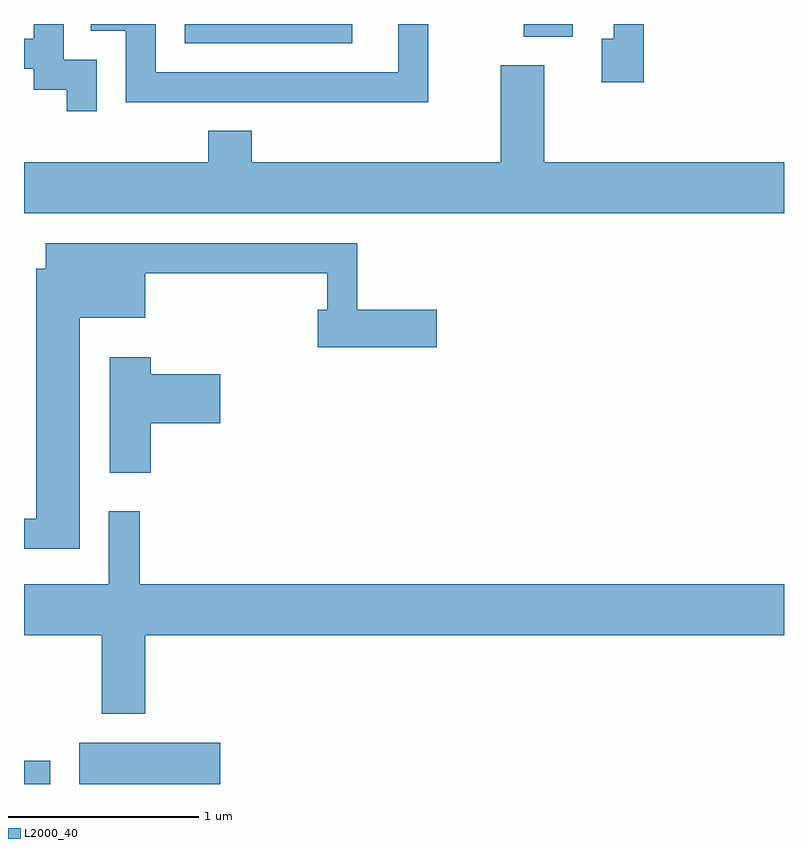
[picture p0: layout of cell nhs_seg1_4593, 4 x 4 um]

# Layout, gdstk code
import gdstk
lib = gdstk.Library(unit=1e-6, precision=1e-09)
def R(c, l, rs):  # rectangles x0, y0, x1, y1
    for r in rs: c.add(gdstk.rectangle(r[:2], r[2:], *l))
def P(c, l, *ps):  # polygons
    for p in ps: c.add(gdstk.Polygon(p, *l))
L2000_40 = (2000, 40)

nhs_seg1_4593 = lib.new_cell('nhs_seg1_4593')
R(nhs_seg1_4593, L2000_40, [(323.611,867.712,323.749,867.834), (323.901,867.712,324.644,867.929), (324.456,871.611,325.338,871.712), (326.241,871.646,326.499,871.712)])
P(nhs_seg1_4593, L2000_40, [(326.874,871.712),(326.716,871.712),(326.716,871.634),(326.651,871.634),(326.651,871.406),(326.874,871.406)],
  [(325.739,871.712),(325.581,871.712),(325.581,871.459),(324.304,871.459),(324.304,871.712),(323.963,871.712),(323.963,871.676),(324.146,871.676),(324.146,871.301),(325.739,871.301)],
  [(323.994,871.524),(323.819,871.524),(323.819,871.712),(323.661,871.712),(323.661,871.634),(323.611,871.634),(323.611,871.476),(323.661,871.476),(323.661,871.366),(323.836,871.366),(323.836,871.253),(323.994,871.253)],
  [(327.611,870.984),(326.349,870.984),(326.349,871.494),(326.121,871.494),(326.121,870.984),(324.809,870.984),(324.809,871.149),(324.581,871.149),(324.581,870.984),(323.611,870.984),(323.611,870.716),(327.611,870.716)],
  [(323.904,870.166),(324.249,870.166),(324.249,870.401),(325.206,870.401),(325.206,870.209),(325.156,870.209),(325.156,870.011),(325.784,870.011),(325.784,870.209),(325.364,870.209),(325.364,870.559),(323.726,870.559),(323.726,870.424),(323.676,870.424),(323.676,869.109),(323.611,869.109),(323.611,868.951),(323.904,868.951)],
  [(324.279,869.611),(324.644,869.611),(324.644,869.869),(324.279,869.869),(324.279,869.959),(324.061,869.959),(324.061,869.351),(324.279,869.351)],
  [(324.249,868.496),(327.611,868.496),(327.611,868.764),(324.219,868.764),(324.219,869.148),(324.056,869.148),(324.056,868.764),(323.611,868.764),(323.611,868.496),(324.021,868.496),(324.021,868.081),(324.249,868.081)])

lib.write_gds('nhs_seg1_4593.gds')
